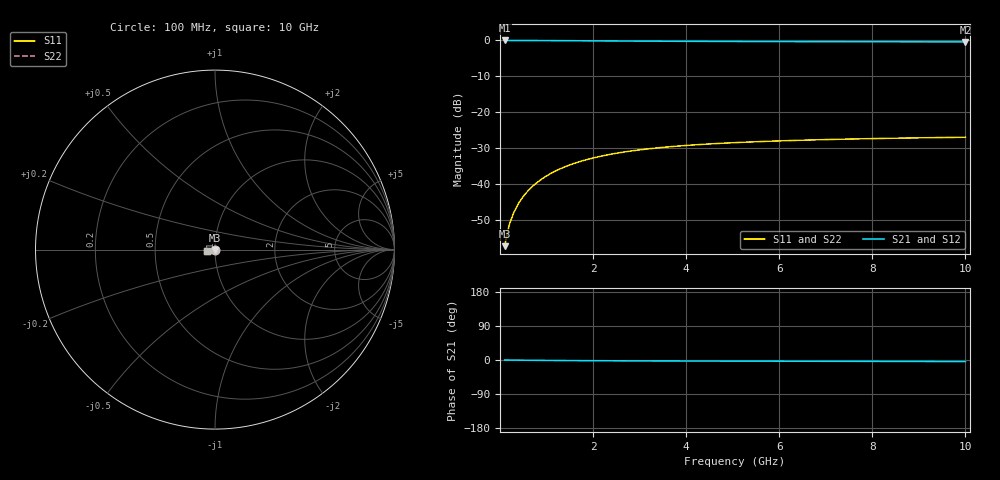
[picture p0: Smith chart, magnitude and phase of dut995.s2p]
! Touchstone file exported from HFSS 2024.1.0
!  File:  C:/UserFiles/LocalFiles/RDL_TSV_Batchsim/temp_TSV1_995_1779953172.aedt
!  Generated:  03:30:54 PM May 28, 2026
!  Design:  TSV1
!  Project:  temp_TSV1_995_1779953172
!  Setup:  Setup1
!  Solution:  Sweep
! Variables:
!  dtsv = 14.45um
!  hbump = 3um
!  htsv = 60.01um
!  lrdl = 252.1521522um
!  p = 40
!  p1 = 53.18um
!  t = 500um
!  trdl = 3um
!  wrdl = 24.89489489um
# GHz S MA R 50.000000
! Terminal data exported
! Port[1] = TSV22_T1
! Port[2] = TSV22_T2
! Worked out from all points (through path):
!   100 points, 100 MHz to 10 GHz, reference 50 ohm
!   highest |S21| = 0.00 dB at 100 MHz (marker M1); lowest = -0.4 dB at 10 GHz (marker M2)
!   lowest |S11| = -57.4 dB at 100 MHz (marker M3), VSWR 1.00, Z = 50 - j0.135 ohm
!   |S11| at or under -10 dB: start of sweep to end of sweep
!   |S22| runs from -57.4 to -27.0 dB; largest |S21 - S12| = 6.7e-15
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0.1  0.001349 -88.9  0.9999 -0.1  0.9999 -0.1  0.001349 -88.9
! Gamma 0 0 0 0
! Port Impedance 50 0 50 0
0.2  0.002692 -92.2  0.9997 -0.2  0.9997 -0.2  0.002692 -92.2
0.3  0.004028 -94.5  0.9995 -0.3  0.9995 -0.3  0.004028 -94.5
0.4  0.005352 -96.6  0.9992 -0.5  0.9992 -0.5  0.005352 -96.6
0.5  0.006662 -98.5  0.9988 -0.6  0.9988 -0.6  0.006662 -98.5
0.6  0.007952 -100.4  0.9983 -0.7  0.9983 -0.7  0.007952 -100.4
0.7  0.009222 -102.2  0.9978 -0.8  0.9978 -0.8  0.009222 -102.2
0.8  0.01047 -104.0  0.9972 -0.9  0.9972 -0.9  0.01047 -104.0
0.9  0.01168 -105.8  0.9965 -1.0  0.9965 -1.0  0.01168 -105.8
1.1  0.01403 -109.2  0.9951 -1.2  0.9951 -1.2  0.01403 -109.2
1.4  0.01731 -113.9  0.9926 -1.4  0.9926 -1.4  0.01731 -113.9
1.6  0.01932 -116.9  0.9909 -1.6  0.9909 -1.6  0.01932 -116.9
1.8  0.02119 -119.8  0.9892 -1.7  0.9892 -1.7  0.02119 -119.8
2.1  0.02374 -123.7  0.9866 -1.9  0.9866 -1.9  0.02374 -123.7
2.5  0.02669 -128.5  0.9833 -2.1  0.9833 -2.1  0.02669 -128.5
2.9  0.02919 -132.7  0.9801 -2.3  0.9801 -2.3  0.02919 -132.7
3.4  0.03178 -137.3  0.9766 -2.5  0.9766 -2.5  0.03178 -137.3
4.2  0.035 -143.5  0.9718 -2.7  0.9718 -2.7  0.035 -143.5
5.1  0.03767 -149.0  0.9676 -2.9  0.9676 -2.9  0.03767 -149.0
6.7  0.04092 -156.5  0.9621 -3.3  0.9621 -3.3  0.04092 -156.5
8.4  0.04318 -162.7  0.9583 -3.7  0.9583 -3.7  0.04318 -162.7
10  0.04462 -167.5  0.9558 -4.1  0.9558 -4.1  0.04462 -167.5
